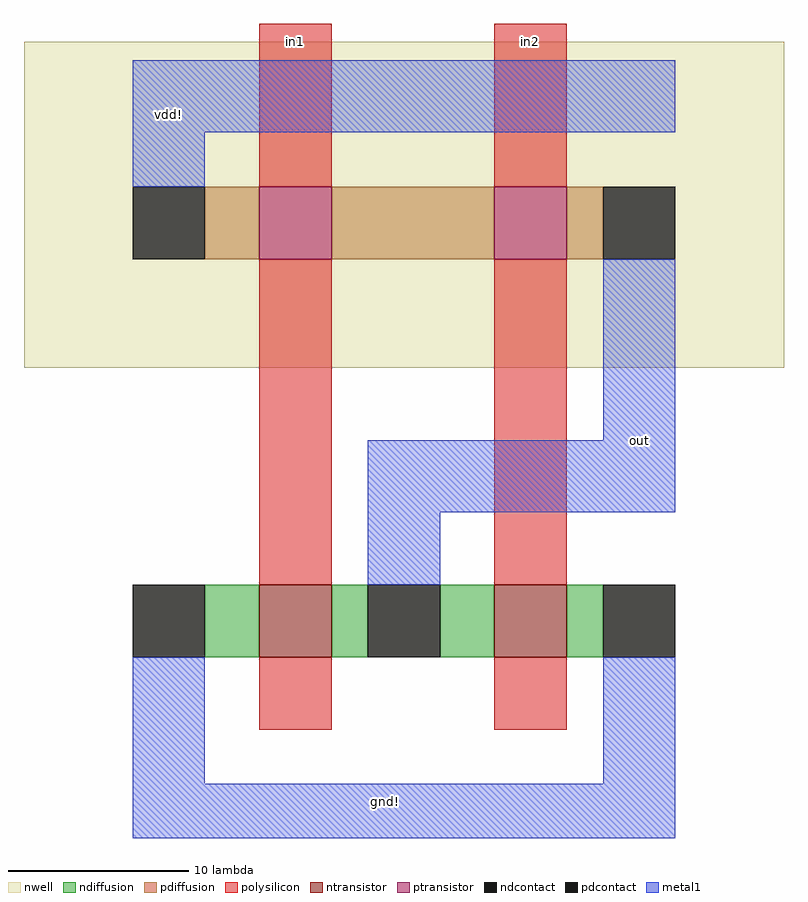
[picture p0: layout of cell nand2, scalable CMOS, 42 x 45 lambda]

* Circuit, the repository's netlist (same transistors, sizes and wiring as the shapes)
* SPICE3 file created from nand2.ext - technology: scmos
.include TSMC_180nm.txt
.option scale=0.09u

M1000 out in2 a_n1_7# w_n18_1# cmosp w=4 l=4
+  ad=24 pd=20 as=36 ps=26
M1001 a_n1_7# in1 vdd w_n18_1# cmosp w=4 l=4
+  ad=0 pd=0 as=28 ps=22
M1002 out in1 gnd Gnd cmosn w=4 l=4
+  ad=36 pd=26 as=52 ps=42
M1003 gnd in2 out Gnd cmosn w=4 l=4
+  ad=0 pd=0 as=0 ps=0

Vdd vdd gnd 2

V_in_a in1 gnd PULSE(0 2 0us 100ps 100ps 5us 7us)
V_in_b in2 gnd PULSE(0 2 0us 100ps 100ps 5us 7us)

.tran 1u 100u


.control
run
set color0 = rgb:f/f/e
set color1 = black
plot v(in1) v(in2)+2 v(out)+4

.end
.endc

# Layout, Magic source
magic
tech scmos
<< nwell >>
rect -18 1 24 19
<< ntransistor >>
rect -5 -15 -1 -11
rect 8 -15 12 -11
<< ptransistor >>
rect -5 7 -1 11
rect 8 7 12 11
<< ndiffusion >>
rect -8 -15 -5 -11
rect -1 -15 1 -11
rect 5 -15 8 -11
rect 12 -15 14 -11
<< pdiffusion >>
rect -8 7 -5 11
rect -1 7 8 11
rect 12 7 14 11
<< ndcontact >>
rect -12 -15 -8 -11
rect 1 -15 5 -11
rect 14 -15 18 -11
<< pdcontact >>
rect -12 7 -8 11
rect 14 7 18 11
<< polysilicon >>
rect -5 11 -1 20
rect 8 11 12 20
rect -5 -11 -1 7
rect 8 -11 12 7
rect -5 -19 -1 -15
rect 8 -19 12 -15
<< metal1 >>
rect -12 14 18 18
rect -12 11 -8 14
rect 14 -3 18 7
rect 1 -7 18 -3
rect 1 -11 5 -7
rect -12 -22 -8 -15
rect 14 -22 18 -15
rect -12 -25 18 -22
<< labels >>
rlabel metal1 16 -3 16 -3 1 out
rlabel polysilicon -3 19 -3 19 5 in1
rlabel polysilicon 10 19 10 19 5 in2
rlabel metal1 -10 15 -10 15 5 vdd!
rlabel metal1 2 -23 2 -23 1 gnd!
<< end >>
